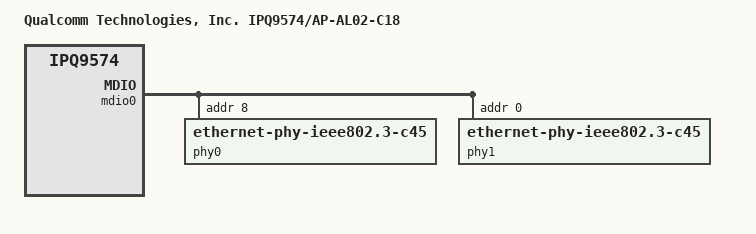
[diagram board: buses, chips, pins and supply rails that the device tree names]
// SPDX-License-Identifier: (GPL-2.0+ OR BSD-3-Clause)
/*
 * IPQ9574 AL02-C18 board device tree source
 *
 * Copyright (c) 2022 Qualcomm Innovation Center, Inc. All rights reserved.
 */

/dts-v1/;

#include "ipq9574-al02-c4.dts"

/ {
	#address-cells = <0x2>;
	#size-cells = <0x2>;
	model = "Qualcomm Technologies, Inc. IPQ9574/AP-AL02-C18";
	compatible = "qcom,ipq9574-ap-al02-c18", "qcom,ipq9574-al02", "qcom,ipq9574";
	interrupt-parent = <&intc>;

	soc {
		pinctrl@1000000 {
			sfp_pins: sfp_pinmux {
				sfp_rx {
					pins = "gpio46";
					function = "rx1";
					bias-disable;
				};

				sfp_tx {
					pins = "gpio60";
					function = "gpio";
					drive-strength = <8>;
					bias-pull-down;
					output-low;
				};
			};
		};

		dp1 {
			reg = <0x3a500000 0x4000>;
			qcom,mactype = <1>;
			qcom,phy-mdio-addr = <30>;
		};

		dp2 {
			qcom,id = <5>;
			reg = <0x3a510000 0x4000>;
			qcom,mactype = <1>;
			qcom,phy-mdio-addr = <8>;
		};

		dp3 {
			qcom,id = <6>;
			reg = <0x3a514000 0x4000>;
			qcom,mactype = <1>;
			qcom,phy-mdio-addr = <0>;
		};

		/delete-node/ dp4;
		/delete-node/ dp5;
		/delete-node/ dp6;

		mdio0:mdio@90000 {
			/delete-property/phy-reset-gpio;

			phy0: ethernet-phy@0 {
				compatible ="ethernet-phy-ieee802.3-c45";
				reg = <8>;
			};
			phy1: ethernet-phy@1 {
				compatible ="ethernet-phy-ieee802.3-c45";
				reg = <0>;
			};
			/delete-node/ ethernet-phy@2;
			/delete-node/ ethernet-phy@3;
			/delete-node/ ethernet-phy@4;
			/delete-node/ ethernet-phy@5;
		};

		ess-instance {
			ess-switch@3a000000 {
				pinctrl-0 = <&sfp_pins>;
				pinctrl-names = "default";
				switch_lan_bmp = <0x22>; /* lan port bitmap */
				switch_mac_mode = <0xe>; /* mac mode for uniphy instance0*/
				bm_tick_mode = <1>; /* bm tick mode */
				tm_tick_mode = <1>; /* tm tick mode */

				qcom,port_phyinfo {
					port@0 {
						port_id = <1>;
						phy_address = <30>;
						media-type = "sfp"; /* fiber mode */
					};
					/delete-node/ port@1;
					/delete-node/ port@2;
					/delete-node/ port@3;
				};
			};
		};
	};
};
